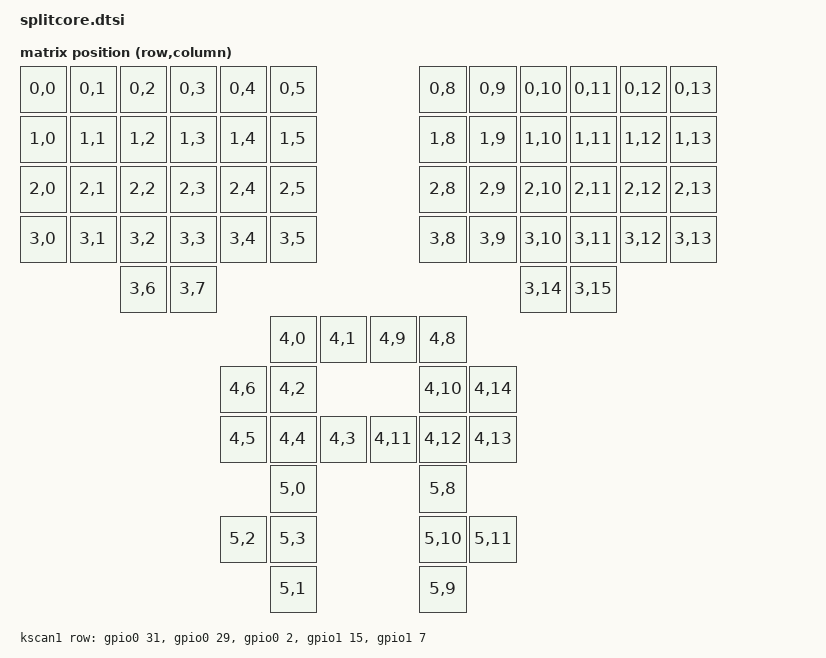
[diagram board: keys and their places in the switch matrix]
#include <dt-bindings/zmk/matrix_transform.h>
#include "splitcore_physical_layout.dtsi"

/ {

    chosen {
        zmk,kscan = &kscan0;
        zmk,physical-layout = &physical_layout0;
    };

    kscan0: kscan_composite {
        compatible = "zmk,kscan-composite";
        status = "okay";
        columns = <16>;
        rows = <6>;
    };

    // key matrix
    kscan1: kscan1 {
        compatible = "zmk,kscan-gpio-matrix";
        diode-direction = "col2row";
        wakeup-source;
        status = "disabled";
            
        row-gpios
            = <&gpio0 31    (GPIO_ACTIVE_HIGH | GPIO_PULL_DOWN)>
            , <&gpio0 29    (GPIO_ACTIVE_HIGH | GPIO_PULL_DOWN)>
            , <&gpio0 2     (GPIO_ACTIVE_HIGH | GPIO_PULL_DOWN)>
            , <&gpio1 15    (GPIO_ACTIVE_HIGH | GPIO_PULL_DOWN)>
            , <&gpio1 7     (GPIO_ACTIVE_HIGH | GPIO_PULL_DOWN)>
            ;
    };

    default_transform: keymap_transform0 {
        compatible = "zmk,matrix-transform";
        columns = <16>;
        rows = <6>;

        // key matrix, fingers and thumb clusters, rows 0 - 4
        // dpad and RKJXT1F42001 buttons, row 5
        map = <
            RC(0,0) RC(0,1) RC(0,2) RC(0,3) RC(0,4) RC(0,5)                     RC(0,8) RC(0,9) RC(0,10) RC(0,11) RC(0,12) RC(0,13)
            RC(1,0) RC(1,1) RC(1,2) RC(1,3) RC(1,4) RC(1,5)                     RC(1,8) RC(1,9) RC(1,10) RC(1,11) RC(1,12) RC(1,13)
            RC(2,0) RC(2,1) RC(2,2) RC(2,3) RC(2,4) RC(2,5)                     RC(2,8) RC(2,9) RC(2,10) RC(2,11) RC(2,12) RC(2,13)
            RC(3,0) RC(3,1) RC(3,2) RC(3,3) RC(3,4) RC(3,5)                     RC(3,8) RC(3,9) RC(3,10) RC(3,11) RC(3,12) RC(3,13)
                            RC(3,6) RC(3,7)                                                     RC(3,14) RC(3,15)
                                                    RC(4,0) RC(4,1)     RC(4,9)  RC(4,8)
                                            RC(4,6)         RC(4,2)     RC(4,10)          RC(4,14)
                                            RC(4,5) RC(4,4) RC(4,3)     RC(4,11) RC(4,12) RC(4,13)

                                                    RC(5,0)                      RC(5,8)
                                            RC(5,2)         RC(5,3)     RC(5,10)          RC(5,11)
                                                    RC(5,1)                      RC(5,9)
        >;
    };

    // disabled by default - only on right side
    RKJXT1F42001_encoder: encoder_RKJXT1F42001 {
        compatible = "alps,ec11";
        steps = <30>;
        status = "disabled";
    };

    sensors: sensors {
        compatible = "zmk,keymap-sensors";
        sensors = <&RKJXT1F42001_encoder>;

        RKJXT1F42001_encoder {
            triggers-per-rotation = <15>;
        };
    };

    asdc0: split_data_channel {
        compatible = "zmk,arbitrary-split-data-channel";
        channel-id = <1>;
        status = "okay";
    };

    ssr0: split_status_relay {
        compatible = "zmk,split-status-relay";
        asdc-channel = <&asdc0>;
        status = "okay";
    };

    esb_split {
        compatible = "zmk,esb-split";
        // These are arbitrary default addresses. In end user products
        // different addresses should be used for each set of devices.
        base-addr-0 = <0xE5 0x65 0x72 0x92>;
        base-addr-1 = <0xD2 0xB4 0x04 0x98>;
        addr-prefix = <0xB7 0xF4 0xA1 0x54 0x22 0xE1 0xDD 0x11>;
    };
};
